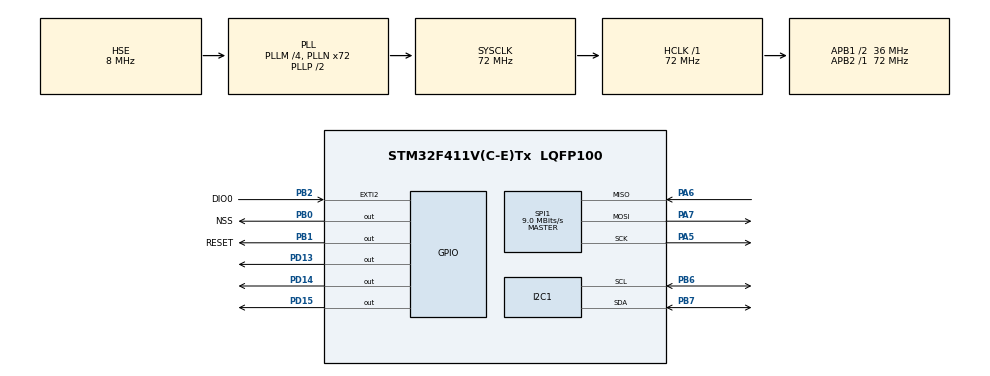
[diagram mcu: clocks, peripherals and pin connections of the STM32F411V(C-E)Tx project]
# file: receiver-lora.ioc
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Mcu.Family=STM32F4
Mcu.Name=STM32F411V(C-E)Tx
Mcu.Package=LQFP100
NVIC.EXTI2_IRQn=true\:0\:0\:false\:false\:true\:true\:true\:true
NVIC.PriorityGroup=NVIC_PRIORITYGROUP_4
PA5.Mode=Full_Duplex_Master
PA5.Signal=SPI1_SCK
PA6.Mode=Full_Duplex_Master
PA6.Signal=SPI1_MISO
PA7.Mode=Full_Duplex_Master
PA7.Signal=SPI1_MOSI
PB0.GPIO_Label=NSS
PB0.PinState=GPIO_PIN_SET
PB0.Signal=GPIO_Output
PB1.GPIO_Label=RESET
PB1.PinState=GPIO_PIN_SET
PB1.Signal=GPIO_Output
PB2.GPIO_Label=DIO0
PB2.Signal=GPXTI2
PB6.Mode=I2C
PB6.Signal=I2C1_SCL
PB7.Mode=I2C
PB7.Signal=I2C1_SDA
PD13.Signal=GPIO_Output
PD14.Signal=GPIO_Output
PD15.Signal=GPIO_Output
PH0\ -\ OSC_IN.Mode=HSE-External-Oscillator
PH0\ -\ OSC_IN.Signal=RCC_OSC_IN
PH1\ -\ OSC_OUT.Mode=HSE-External-Oscillator
PH1\ -\ OSC_OUT.Signal=RCC_OSC_OUT
ProjectManager.HeapSize=0x200
ProjectManager.StackSize=0x400
ProjectManager.TargetToolchain=STM32CubeIDE
RCC.48MHZClocksFreq_Value=36000000
RCC.AHBFreq_Value=72000000
RCC.APB1CLKDivider=RCC_HCLK_DIV2
RCC.APB1Freq_Value=36000000
RCC.APB1TimFreq_Value=72000000
RCC.APB2Freq_Value=72000000
RCC.APB2TimFreq_Value=72000000
RCC.CortexFreq_Value=72000000
RCC.HCLKFreq_Value=72000000
RCC.HSE_VALUE=8000000
RCC.HSI_VALUE=16000000
RCC.LSE_VALUE=32768
RCC.PLLM=4
RCC.PLLN=72
RCC.PLLSourceVirtual=RCC_PLLSOURCE_HSE
RCC.SYSCLKFreq_VALUE=72000000
RCC.SYSCLKSource=RCC_SYSCLKSOURCE_PLLCLK
RCC.VCOOutputFreq_Value=144000000
SPI1.BaudRatePrescaler=SPI_BAUDRATEPRESCALER_8
SPI1.CalculateBaudRate=9.0 MBits/s
SPI1.Direction=SPI_DIRECTION_2LINES
SPI1.Mode=SPI_MODE_MASTER
SPI1.VirtualType=VM_MASTER
board=custom

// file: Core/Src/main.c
/* USER CODE BEGIN Header */
/**
  ******************************************************************************
  * @file           : main.c
  * @brief          : Main program body
  ******************************************************************************
  * @attention
  *
  * Copyright (c) 2023 STMicroelectronics.
  * All rights reserved.
  *
  * This software is licensed under terms that can be found in the LICENSE file
  * in the root directory of this software component.
  * If no LICENSE file comes with this software, it is provided AS-IS.
  *
  ******************************************************************************
  */
/* USER CODE END Header */
#include "main.h"
#include "i2c.h"
#include "spi.h"
#include "gpio.h"
#include <stdio.h>

/* USER CODE BEGIN Includes */
#include "i2c-lcd.h"
#include "LoRa.h"
#include "BMP280_STM32.h"
/* USER CODE END Includes */

/* USER CODE BEGIN PV */
LoRa myLora;
uint8_t LoRa_status = 0;
uint8_t result = 0;
char data[32];
/* USER CODE END PV */

void SystemClock_Config(void);

/* USER CODE BEGIN 0 */
//float Temperature, Pressure, Humidity;
//void HAL_GPIO_EXTI_Callback(uint16_t GPIO_Pin)
//{
//  if(GPIO_Pin == DIO0_Pin){
//	  HAL_GPIO_TogglePin(GPIOD, GPIO_PIN_15);
//	  LoRa_receive(&myLora, &result, 1);
//  }
//}
/* USER CODE END 0 */

int main(void)
{

  /* MCU Configuration--------------------------------------------------------*/

  /* Reset of all peripherals, Initializes the Flash interface and the Systick. */

	HAL_Init();

  /* Configure the system clock */
  SystemClock_Config();

  /* Initialize all configured peripherals */
  MX_GPIO_Init();
  MX_I2C1_Init();
  MX_SPI1_Init();
  /* USER CODE BEGIN 2 */
  lcd_init();
//  int ret = BMP280_Config(OSRS_16, OSRS_16, OSRS_OFF, MODE_NORMAL, T_SB_1000, IIR_16);
  char msgstr[64];

  myLora = newLoRa();
  myLora.CS_port         = NSS_GPIO_Port;
  myLora.CS_pin          = NSS_Pin;
  myLora.reset_port      = RESET_GPIO_Port;
  myLora.reset_pin       = RESET_Pin;
  myLora.DIO0_port       = DIO0_GPIO_Port;
  myLora.DIO0_pin        = DIO0_Pin;
  myLora.hSPIx           = &hspi1;

  if (LoRa_init(&myLora) == LORA_OK) {
      LoRa_status = 1;
  } else {
  	  HAL_GPIO_WritePin(GPIOD, GPIO_PIN_13, 1);
  }

  LoRa_startReceiving(&myLora);
  /* USER CODE END 2 */

  /* Infinite loop */
  /* USER CODE BEGIN WHILE */
  while (1)
  {
	  if (LoRa_status) {
		  HAL_Delay(1000);
		  HAL_GPIO_TogglePin(GPIOD, GPIO_PIN_14);
		  LoRa_receive(&myLora, &result, 1);
//		  HAL_Delay(1000);

	  }
    /* USER CODE END WHILE */

  }
}

void SystemClock_Config(void)
{
  RCC_OscInitTypeDef RCC_OscInitStruct = {0};
  RCC_ClkInitTypeDef RCC_ClkInitStruct = {0};

  /** Configure the main internal regulator output voltage
  */
  __HAL_RCC_PWR_CLK_ENABLE();
  __HAL_PWR_VOLTAGESCALING_CONFIG(PWR_REGULATOR_VOLTAGE_SCALE1);

  /** Initializes the RCC Oscillators according to the specified parameters
  * in the RCC_OscInitTypeDef structure.
  */
  RCC_OscInitStruct.OscillatorType = RCC_OSCILLATORTYPE_HSE;
  RCC_OscInitStruct.HSEState = RCC_HSE_ON;
  RCC_OscInitStruct.PLL.PLLState = RCC_PLL_ON;
  RCC_OscInitStruct.PLL.PLLSource = RCC_PLLSOURCE_HSE;
  RCC_OscInitStruct.PLL.PLLM = 4;
  RCC_OscInitStruct.PLL.PLLN = 72;
  RCC_OscInitStruct.PLL.PLLP = RCC_PLLP_DIV2;
  RCC_OscInitStruct.PLL.PLLQ = 4;
  if (HAL_RCC_OscConfig(&RCC_OscInitStruct) != HAL_OK)
  {
    Error_Handler();
  }

  /** Initializes the CPU, AHB and APB buses clocks
  */
  RCC_ClkInitStruct.ClockType = RCC_CLOCKTYPE_HCLK|RCC_CLOCKTYPE_SYSCLK
                              |RCC_CLOCKTYPE_PCLK1|RCC_CLOCKTYPE_PCLK2;
  RCC_ClkInitStruct.SYSCLKSource = RCC_SYSCLKSOURCE_PLLCLK;
  RCC_ClkInitStruct.AHBCLKDivider = RCC_SYSCLK_DIV1;
  RCC_ClkInitStruct.APB1CLKDivider = RCC_HCLK_DIV2;
  RCC_ClkInitStruct.APB2CLKDivider = RCC_HCLK_DIV1;

  if (HAL_RCC_ClockConfig(&RCC_ClkInitStruct, FLASH_LATENCY_2) != HAL_OK)
  {
    Error_Handler();
  }
}

void Error_Handler(void)
{
  __disable_irq();
  while (1)
  {
  }
}
